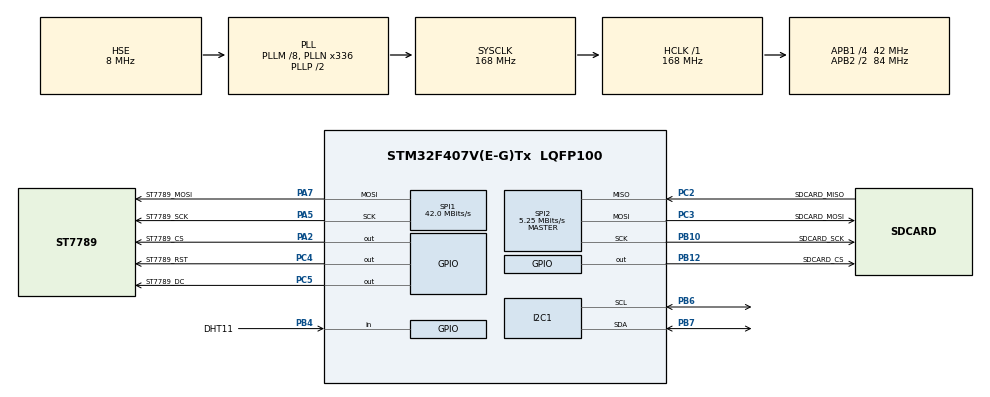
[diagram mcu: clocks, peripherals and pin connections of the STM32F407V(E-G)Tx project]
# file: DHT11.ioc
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Mcu.Family=STM32F4
Mcu.Name=STM32F407V(E-G)Tx
Mcu.Package=LQFP100
NVIC.PriorityGroup=NVIC_PRIORITYGROUP_4
PA13.Mode=Serial_Wire
PA13.Signal=SYS_JTMS-SWDIO
PA14.Mode=Serial_Wire
PA14.Signal=SYS_JTCK-SWCLK
PA2.GPIO_Label=ST7789_CS
PA2.Signal=GPIO_Output
PA5.GPIO_Label=ST7789_SCK
PA5.Mode=TX_Only_Simplex_Unidirect_Master
PA5.Signal=SPI1_SCK
PA7.GPIO_Label=ST7789_MOSI
PA7.Mode=TX_Only_Simplex_Unidirect_Master
PA7.Signal=SPI1_MOSI
PB10.GPIO_Label=SDCARD_SCK
PB10.Mode=Full_Duplex_Master
PB10.Signal=SPI2_SCK
PB12.GPIO_Label=SDCARD_CS
PB12.Signal=GPIO_Output
PB4.GPIO_Label=DHT11
PB4.Signal=GPIO_Input
PB6.Mode=I2C
PB6.Signal=I2C1_SCL
PB7.Mode=I2C
PB7.Signal=I2C1_SDA
PC14-OSC32_IN.Mode=LSE-External-Oscillator
PC14-OSC32_IN.Signal=RCC_OSC32_IN
PC15-OSC32_OUT.Mode=LSE-External-Oscillator
PC15-OSC32_OUT.Signal=RCC_OSC32_OUT
PC2.GPIO_Label=SDCARD_MISO
PC2.Mode=Full_Duplex_Master
PC2.Signal=SPI2_MISO
PC3.GPIO_Label=SDCARD_MOSI
PC3.Mode=Full_Duplex_Master
PC3.Signal=SPI2_MOSI
PC4.GPIO_Label=ST7789_RST
PC4.Signal=GPIO_Output
PC5.GPIO_Label=ST7789_DC
PC5.Signal=GPIO_Output
PH0-OSC_IN.Mode=HSE-External-Oscillator
PH0-OSC_IN.Signal=RCC_OSC_IN
PH1-OSC_OUT.Mode=HSE-External-Oscillator
PH1-OSC_OUT.Signal=RCC_OSC_OUT
ProjectManager.HeapSize=0x200
ProjectManager.StackSize=0x400
ProjectManager.TargetToolchain=MDK-ARM V5.32
RCC.48MHZClocksFreq_Value=84000000
RCC.AHBFreq_Value=168000000
RCC.APB1CLKDivider=RCC_HCLK_DIV4
RCC.APB1Freq_Value=42000000
RCC.APB1TimFreq_Value=84000000
RCC.APB2CLKDivider=RCC_HCLK_DIV2
RCC.APB2Freq_Value=84000000
RCC.APB2TimFreq_Value=168000000
RCC.CortexFreq_Value=168000000
RCC.HCLKFreq_Value=168000000
RCC.HSE_VALUE=8000000
RCC.HSI_VALUE=16000000
RCC.PLLM=8
RCC.PLLN=336
RCC.PLLSourceVirtual=RCC_PLLSOURCE_HSE
RCC.SYSCLKFreq_VALUE=168000000
RCC.SYSCLKSource=RCC_SYSCLKSOURCE_PLLCLK
RCC.VCOOutputFreq_Value=336000000
SPI1.BaudRatePrescaler=SPI_BAUDRATEPRESCALER_2
SPI1.CalculateBaudRate=42.0 MBits/s
SPI1.Direction=SPI_DIRECTION_2LINES
SPI1.Mode=SPI_MODE_MASTER
SPI1.VirtualType=VM_MASTER
SPI2.BaudRatePrescaler=SPI_BAUDRATEPRESCALER_8
SPI2.CalculateBaudRate=5.25 MBits/s
SPI2.Direction=SPI_DIRECTION_2LINES
SPI2.Mode=SPI_MODE_MASTER
SPI2.VirtualType=VM_MASTER
board=custom

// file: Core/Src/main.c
/* USER CODE BEGIN Header */
/**
  ******************************************************************************
  * @file           : main.c
  * @brief          : Main program body
  ******************************************************************************
  * @attention
  *
  * Copyright (c) 2022 STMicroelectronics.
  * All rights reserved.
  *
  * This software is licensed under terms that can be found in the LICENSE file
  * in the root directory of this software component.
  * If no LICENSE file comes with this software, it is provided AS-IS.
  *
  ******************************************************************************
  */
/* USER CODE END Header */
#include "main.h"

/* USER CODE BEGIN Includes */
#include "DHT.h"
#include "ds3231.h"
#include "st7789.h"
#include <string.h>
#include "sdcard.h"
#define textColor 0x2a1a//BLACK
#define bgColor 0xdefb
/* USER CODE END Includes */

I2C_HandleTypeDef hi2c1;

SPI_HandleTypeDef hspi1;
SPI_HandleTypeDef hspi2;

void SystemClock_Config(void);
static void MX_GPIO_Init(void);
static void MX_I2C1_Init(void);
static void MX_SPI1_Init(void);
static void MX_SPI2_Init(void);

int main(void)
{
  /* USER CODE BEGIN 1 */
	static DHT_sensor livingRoom = {DHT11_GPIO_Port, DHT11_Pin, DHT11, GPIO_NOPULL};
	DS3231_Init(&hi2c1);
  /* USER CODE END 1 */

  /* MCU Configuration--------------------------------------------------------*/

  /* Reset of all peripherals, Initializes the Flash interface and the Systick. */
  HAL_Init();

  /* Configure the system clock */
  SystemClock_Config();

  /* Initialize all configured peripherals */
  MX_GPIO_Init();
  MX_I2C1_Init();
  MX_SPI1_Init();
  MX_SPI2_Init();
  /* USER CODE BEGIN 2 */
	ST7789_UnSelect();
	ST7789_Init();
	ST7789_Fill_Color(bgColor);
	ST7789_WriteString(10, 30, "MAX 65.3", Font_11x18, textColor, bgColor);
	ST7789_WriteString(10, 60, "MIN 51.4", Font_11x18, textColor, bgColor);
	ST7789_WriteString(203, 40, "o", Font_7x10, textColor, bgColor);
	ST7789_WriteString(210, 40, "F", Font_11x18, textColor, bgColor);
	ST7789_WriteString(70, 108, "HUM", Font_11x18, textColor, bgColor);
	ST7789_WriteString(7, 190, "RUN TIME", Font_11x18, textColor, bgColor);
	ST7789_WriteString(100, 210, "DAYS  HR:MIN", Font_11x18, textColor, bgColor);

	SDCARD_Unselect();
	int status;
	status = SDCARD_Init();
	printf("%d\n",status);
  /* USER CODE END 2 */

  /* Infinite loop */
  while (1)
  {

    /* USER CODE BEGIN 3 */
		DHT_data d = DHT_getData(&livingRoom);
		//printf("Humidity %0.2f\n",d.hum);
		char buf[50];
		sprintf(buf, "%0.1f", d.temp);
		ST7789_WriteString(135, 40, buf, Font_16x26, textColor, bgColor);

		sprintf(buf, "%0.1f", d.hum);
		ST7789_WriteString(135, 108, buf, Font_16x26, textColor, bgColor);

		sprintf(buf ,"%02d %02d:%02d" ,DS3231_GetDate(),DS3231_GetHour(),DS3231_GetMinute());
		ST7789_WriteString(105, 175, buf, Font_16x26, textColor, bgColor);
		//ST7789_WriteString(65, 150, buf, Font_11x18, textColor, bgColor);
		//sprintf(buf, "%d : %d : %d",DS3231_GetHour(),DS3231_GetMinute(),DS3231_GetSecond());
		//ST7789_WriteString(55, 180, buf, Font_11x18, textColor, bgColor);

		HAL_Delay(1000);
  }
  /* USER CODE END 3 */
}

void SystemClock_Config(void)
{
  RCC_OscInitTypeDef RCC_OscInitStruct = {0};
  RCC_ClkInitTypeDef RCC_ClkInitStruct = {0};

  /** Configure the main internal regulator output voltage
  */
  __HAL_RCC_PWR_CLK_ENABLE();
  __HAL_PWR_VOLTAGESCALING_CONFIG(PWR_REGULATOR_VOLTAGE_SCALE1);

  /** Initializes the RCC Oscillators according to the specified parameters
  * in the RCC_OscInitTypeDef structure.
  */
  RCC_OscInitStruct.OscillatorType = RCC_OSCILLATORTYPE_HSE;
  RCC_OscInitStruct.HSEState = RCC_HSE_ON;
  RCC_OscInitStruct.PLL.PLLState = RCC_PLL_ON;
  RCC_OscInitStruct.PLL.PLLSource = RCC_PLLSOURCE_HSE;
  RCC_OscInitStruct.PLL.PLLM = 8;
  RCC_OscInitStruct.PLL.PLLN = 336;
  RCC_OscInitStruct.PLL.PLLP = RCC_PLLP_DIV2;
  RCC_OscInitStruct.PLL.PLLQ = 4;
  if (HAL_RCC_OscConfig(&RCC_OscInitStruct) != HAL_OK)
  {
    Error_Handler();
  }

  /** Initializes the CPU, AHB and APB buses clocks
  */
  RCC_ClkInitStruct.ClockType = RCC_CLOCKTYPE_HCLK|RCC_CLOCKTYPE_SYSCLK
                              |RCC_CLOCKTYPE_PCLK1|RCC_CLOCKTYPE_PCLK2;
  RCC_ClkInitStruct.SYSCLKSource = RCC_SYSCLKSOURCE_PLLCLK;
  RCC_ClkInitStruct.AHBCLKDivider = RCC_SYSCLK_DIV1;
  RCC_ClkInitStruct.APB1CLKDivider = RCC_HCLK_DIV4;
  RCC_ClkInitStruct.APB2CLKDivider = RCC_HCLK_DIV2;

  if (HAL_RCC_ClockConfig(&RCC_ClkInitStruct, FLASH_LATENCY_5) != HAL_OK)
  {
    Error_Handler();
  }
}

static void MX_I2C1_Init(void)
{

  hi2c1.Instance = I2C1;
  hi2c1.Init.ClockSpeed = 100000;
  hi2c1.Init.DutyCycle = I2C_DUTYCYCLE_2;
  hi2c1.Init.OwnAddress1 = 0;
  hi2c1.Init.AddressingMode = I2C_ADDRESSINGMODE_7BIT;
  hi2c1.Init.DualAddressMode = I2C_DUALADDRESS_DISABLE;
  hi2c1.Init.OwnAddress2 = 0;
  hi2c1.Init.GeneralCallMode = I2C_GENERALCALL_DISABLE;
  hi2c1.Init.NoStretchMode = I2C_NOSTRETCH_DISABLE;
  if (HAL_I2C_Init(&hi2c1) != HAL_OK)
  {
    Error_Handler();
  }

}

static void MX_SPI1_Init(void)
{

  /* SPI1 parameter configuration*/
  hspi1.Instance = SPI1;
  hspi1.Init.Mode = SPI_MODE_MASTER;
  hspi1.Init.Direction = SPI_DIRECTION_2LINES;
  hspi1.Init.DataSize = SPI_DATASIZE_8BIT;
  hspi1.Init.CLKPolarity = SPI_POLARITY_LOW;
  hspi1.Init.CLKPhase = SPI_PHASE_1EDGE;
  hspi1.Init.NSS = SPI_NSS_SOFT;
  hspi1.Init.BaudRatePrescaler = SPI_BAUDRATEPRESCALER_2;
  hspi1.Init.FirstBit = SPI_FIRSTBIT_MSB;
  hspi1.Init.TIMode = SPI_TIMODE_DISABLE;
  hspi1.Init.CRCCalculation = SPI_CRCCALCULATION_DISABLE;
  hspi1.Init.CRCPolynomial = 10;
  if (HAL_SPI_Init(&hspi1) != HAL_OK)
  {
    Error_Handler();
  }

}

static void MX_SPI2_Init(void)
{

  /* SPI2 parameter configuration*/
  hspi2.Instance = SPI2;
  hspi2.Init.Mode = SPI_MODE_MASTER;
  hspi2.Init.Direction = SPI_DIRECTION_2LINES;
  hspi2.Init.DataSize = SPI_DATASIZE_8BIT;
  hspi2.Init.CLKPolarity = SPI_POLARITY_LOW;
  hspi2.Init.CLKPhase = SPI_PHASE_1EDGE;
  hspi2.Init.NSS = SPI_NSS_SOFT;
  hspi2.Init.BaudRatePrescaler = SPI_BAUDRATEPRESCALER_8;
  hspi2.Init.FirstBit = SPI_FIRSTBIT_MSB;
  hspi2.Init.TIMode = SPI_TIMODE_DISABLE;
  hspi2.Init.CRCCalculation = SPI_CRCCALCULATION_DISABLE;
  hspi2.Init.CRCPolynomial = 10;
  if (HAL_SPI_Init(&hspi2) != HAL_OK)
  {
    Error_Handler();
  }

}

static void MX_GPIO_Init(void)
{
  GPIO_InitTypeDef GPIO_InitStruct = {0};

  /* GPIO Ports Clock Enable */
  __HAL_RCC_GPIOC_CLK_ENABLE();
  __HAL_RCC_GPIOH_CLK_ENABLE();
  __HAL_RCC_GPIOA_CLK_ENABLE();
  __HAL_RCC_GPIOB_CLK_ENABLE();

  /*Configure GPIO pin Output Level */
  HAL_GPIO_WritePin(ST7789_CS_GPIO_Port, ST7789_CS_Pin, GPIO_PIN_RESET);

  /*Configure GPIO pin Output Level */
  HAL_GPIO_WritePin(GPIOC, ST7789_RST_Pin|ST7789_DC_Pin, GPIO_PIN_RESET);

  /*Configure GPIO pin Output Level */
  HAL_GPIO_WritePin(SDCARD_CS_GPIO_Port, SDCARD_CS_Pin, GPIO_PIN_RESET);

  /*Configure GPIO pin : ST7789_CS_Pin */
  GPIO_InitStruct.Pin = ST7789_CS_Pin;
  GPIO_InitStruct.Mode = GPIO_MODE_OUTPUT_PP;
  GPIO_InitStruct.Pull = GPIO_NOPULL;
  GPIO_InitStruct.Speed = GPIO_SPEED_FREQ_LOW;
  HAL_GPIO_Init(ST7789_CS_GPIO_Port, &GPIO_InitStruct);

  /*Configure GPIO pins : ST7789_RST_Pin ST7789_DC_Pin */
  GPIO_InitStruct.Pin = ST7789_RST_Pin|ST7789_DC_Pin;
  GPIO_InitStruct.Mode = GPIO_MODE_OUTPUT_PP;
  GPIO_InitStruct.Pull = GPIO_NOPULL;
  GPIO_InitStruct.Speed = GPIO_SPEED_FREQ_LOW;
  HAL_GPIO_Init(GPIOC, &GPIO_InitStruct);

  /*Configure GPIO pin : SDCARD_CS_Pin */
  GPIO_InitStruct.Pin = SDCARD_CS_Pin;
  GPIO_InitStruct.Mode = GPIO_MODE_OUTPUT_PP;
  GPIO_InitStruct.Pull = GPIO_NOPULL;
  GPIO_InitStruct.Speed = GPIO_SPEED_FREQ_LOW;
  HAL_GPIO_Init(SDCARD_CS_GPIO_Port, &GPIO_InitStruct);

  /*Configure GPIO pin : DHT11_Pin */
  GPIO_InitStruct.Pin = DHT11_Pin;
  GPIO_InitStruct.Mode = GPIO_MODE_INPUT;
  GPIO_InitStruct.Pull = GPIO_NOPULL;
  HAL_GPIO_Init(DHT11_GPIO_Port, &GPIO_InitStruct);

}

/* USER CODE BEGIN 4 */

int fputc(int ch, FILE *f)
{
  ITM_SendChar(ch);
  return(ch);
}

/* USER CODE END 4 */

void Error_Handler(void)
{
  __disable_irq();
  while (1)
  {
  }
}
